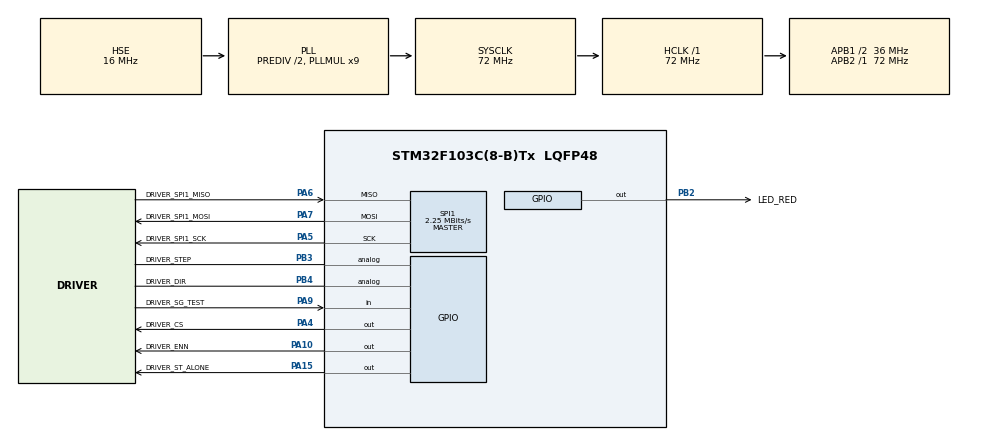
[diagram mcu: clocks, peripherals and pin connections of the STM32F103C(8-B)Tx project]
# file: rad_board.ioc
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Mcu.Family=STM32F1
Mcu.Name=STM32F103C(8-B)Tx
Mcu.Package=LQFP48
NVIC.PriorityGroup=NVIC_PRIORITYGROUP_4
PA10.GPIO_Label=DRIVER_ENN
PA10.Signal=GPIO_Output
PA13.GPIO_Label=J7_SWDIO
PA13.Mode=Serial_Wire
PA13.Signal=SYS_JTMS-SWDIO
PA14.GPIO_Label=J7_SWCLK
PA14.Mode=Serial_Wire
PA14.Signal=SYS_JTCK-SWCLK
PA15.GPIO_Label=DRIVER_ST_ALONE
PA15.Signal=GPIO_Output
PA4.GPIO_Label=DRIVER_CS
PA4.Signal=GPIO_Output
PA5.GPIO_Label=DRIVER_SPI1_SCK
PA5.Mode=Full_Duplex_Master
PA5.Signal=SPI1_SCK
PA6.GPIO_Label=DRIVER_SPI1_MISO
PA6.Mode=Full_Duplex_Master
PA6.Signal=SPI1_MISO
PA7.GPIO_Label=DRIVER_SPI1_MOSI
PA7.Mode=Full_Duplex_Master
PA7.Signal=SPI1_MOSI
PA9.GPIO_Label=DRIVER_SG_TEST
PA9.Signal=GPIO_Input
PB2.GPIO_Label=LED_RED
PB2.Signal=GPIO_Output
PB3.GPIO_Label=DRIVER_STEP
PB3.Signal=GPIO_Analog
PB4.GPIO_Label=DRIVER_DIR
PB4.Signal=GPIO_Analog
PD0-OSC_IN.Mode=HSE-External-Oscillator
PD0-OSC_IN.Signal=RCC_OSC_IN
PD1-OSC_OUT.Mode=HSE-External-Oscillator
PD1-OSC_OUT.Signal=RCC_OSC_OUT
ProjectManager.HeapSize=0x200
ProjectManager.StackSize=0x400
ProjectManager.TargetToolchain=STM32CubeIDE
RCC.AHBFreq_Value=72000000
RCC.APB1CLKDivider=RCC_HCLK_DIV2
RCC.APB1Freq_Value=36000000
RCC.APB1TimFreq_Value=72000000
RCC.APB2Freq_Value=72000000
RCC.APB2TimFreq_Value=72000000
RCC.HCLKFreq_Value=72000000
RCC.HSEDivPLL=RCC_HSE_PREDIV_DIV2
RCC.HSE_VALUE=16000000
RCC.PLLMUL=RCC_PLL_MUL9
RCC.PLLSourceVirtual=RCC_PLLSOURCE_HSE
RCC.SYSCLKFreq_VALUE=72000000
RCC.SYSCLKSource=RCC_SYSCLKSOURCE_PLLCLK
RCC.USBFreq_Value=72000000
SPI1.BaudRatePrescaler=SPI_BAUDRATEPRESCALER_32
SPI1.CalculateBaudRate=2.25 MBits/s
SPI1.Direction=SPI_DIRECTION_2LINES
SPI1.Mode=SPI_MODE_MASTER
SPI1.VirtualType=VM_MASTER
board=custom

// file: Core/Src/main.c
/* USER CODE BEGIN Header */
/**
 ******************************************************************************
 * @file           : main.c
 * @brief          : Main program body
 ******************************************************************************
 * @attention
 *
 * Copyright (c) 2024 STMicroelectronics.
 * All rights reserved.
 *
 * This software is licensed under terms that can be found in the LICENSE file
 * in the root directory of this software component.
 * If no LICENSE file comes with this software, it is provided AS-IS.
 *
 ******************************************************************************
 */
/* USER CODE END Header */
#include "main.h"

SPI_HandleTypeDef hspi1;

void SystemClock_Config(void);
static void MX_GPIO_Init(void);
static void MX_SPI1_Init(void);

int main(void)
{

    /* MCU Configuration--------------------------------------------------------*/

    /* Reset of all peripherals, Initializes the Flash interface and the Systick. */
    HAL_Init();

    /* Configure the system clock */
    SystemClock_Config();

    /* Initialize all configured peripherals */
    MX_GPIO_Init();
    MX_SPI1_Init();
    /* USER CODE BEGIN 2 */

    HAL_GPIO_WritePin(GPIOA, GPIO_PIN_10, GPIO_PIN_RESET); // Motor driver chip enable
    HAL_GPIO_WritePin(GPIOA, GPIO_PIN_15, GPIO_PIN_RESET); // disable stand alone mode
    HAL_GPIO_WritePin(GPIOA, GPIO_PIN_4, GPIO_PIN_SET); // CS

    int32_t SPImsg = 0;
    uint8_t SPImsg_bytes[3];

    //  uint32_t SPIread;
    uint8_t SPIread_bytes[3];

    HAL_StatusTypeDef spi_status;

    // Bits 19, 18, 17
    // 111 DRVCONF (0b111 << 17)
    // 110 SGCSCONF (0b110 << 17)
    // 101 SMARTEN (0b101 << 17)
    // 100 CHOPCONF (0b100 << 17)
    // 00X DRVCTRL (0b00 << 18)

    /* DRVCONF */
    SPImsg = 0;
    SPImsg |= (0b111 << 17); // DRVCONF
    SPImsg |= (0b0 << 16); // TST: test mode
    SPImsg |= (0b11110 << 11); // SLP: Slope control
    SPImsg |= (0b0 << 10); // DIS_S2G: Short to ground protection
    SPImsg |= (0b00 << 8); // TS2G: Short detection delay
    SPImsg |= (0b0 << 7); // SDOFF: step/dir interface
    SPImsg |= (0b0 << 6); // VSENSE: full-scale sense resistor voltage setting
    SPImsg |= (0b11 << 4); // RDSEL: read out select
    SPImsg |= (0b0 << 3); // OTSENS: overtemp shutdown setting
    SPImsg |= (0b1 << 2); // SHRTSENS: short to ground sensitivity
    SPImsg |= (0b1 << 1); // EN_PFD: passive fast delay setting
    SPImsg |= (0b1 << 0); // EN_S2VS: Short to VS protection

    SPImsg_bytes[2] = (uint8_t) (SPImsg & 0xFF);
    SPImsg_bytes[1] = (uint8_t) ((SPImsg & 0xFF00) >> 8);
    SPImsg_bytes[0] = (uint8_t) ((SPImsg & 0xFF0000) >> 16);

    HAL_GPIO_WritePin(GPIOA, GPIO_PIN_4, GPIO_PIN_RESET);
    spi_status = HAL_SPI_TransmitReceive(&hspi1, SPImsg_bytes, SPIread_bytes, 3,
            1000);
    HAL_GPIO_WritePin(GPIOA, GPIO_PIN_4, GPIO_PIN_SET);

    /* SGCSCONF */
    SPImsg = 0;
    SPImsg |= (0b110 << 17); // SGCSCONF
    SPImsg |= (0b0 << 16); // SFILT: stall guard filter
    SPImsg |= (0b0000010 << 8); // SGT: stall guard threshold
    SPImsg |= (17 << 0); // CS: current scale

    SPImsg_bytes[2] = (uint8_t) (SPImsg & 0xFF);
    SPImsg_bytes[1] = (uint8_t) ((SPImsg & 0xFF00) >> 8);
    SPImsg_bytes[0] = (uint8_t) ((SPImsg & 0xFF0000) >> 16);

    HAL_GPIO_WritePin(GPIOA, GPIO_PIN_4, GPIO_PIN_RESET);
    spi_status = HAL_SPI_TransmitReceive(&hspi1, SPImsg_bytes, SPIread_bytes, 3,
            1000);
    HAL_GPIO_WritePin(GPIOA, GPIO_PIN_4, GPIO_PIN_SET);

    /* SMARTEN */
    SPImsg = 0;
    SPImsg |= (0b101 << 17); // SMARTEN
    SPImsg |= (0b0 << 15); // SEIMIN: min cool step current
    SPImsg |= (0b00 << 13); // SEDN: current dec. speed
    SPImsg |= (0b0000 << 8); // SEMAX: upper cool step threshold offset
    SPImsg |= (0b00 << 5); // SEUP: current increment size
    SPImsg |= (0b0000 << 0); // SEMIN: cool step lower threshold

    SPImsg_bytes[2] = (uint8_t) (SPImsg & 0xFF);
    SPImsg_bytes[1] = (uint8_t) ((SPImsg & 0xFF00) >> 8);
    SPImsg_bytes[0] = (uint8_t) ((SPImsg & 0xFF0000) >> 16);

    HAL_GPIO_WritePin(GPIOA, GPIO_PIN_4, GPIO_PIN_RESET);
    spi_status = HAL_SPI_TransmitReceive(&hspi1, SPImsg_bytes, SPIread_bytes, 3,
            1000);
    HAL_GPIO_WritePin(GPIOA, GPIO_PIN_4, GPIO_PIN_SET);

    /* CHOPCONF */
    SPImsg = 0;
    SPImsg |= (0b100 << 17); // CHOPCONF
    SPImsg |= (0b10 << 15); // TBL: blanking time
    SPImsg |= (0b0 << 14); // CHM: chopper mode
    SPImsg |= (0b0 << 13); // RNDTF: Random TOFF time
    SPImsg |= (0b00 << 11); // HDEC: hysteresis decay or fast decay mode
    SPImsg |= (0b0100 << 7); // HEND: hysteresis end value
    SPImsg |= (0b110 << 4); // HSTRT: hysteresis start value
    SPImsg |= (0b0100 << 0); // TOFF: mosfet off time

    SPImsg_bytes[2] = (uint8_t) (SPImsg & 0xFF);
    SPImsg_bytes[1] = (uint8_t) ((SPImsg & 0xFF00) >> 8);
    SPImsg_bytes[0] = (uint8_t) ((SPImsg & 0xFF0000) >> 16);

    HAL_GPIO_WritePin(GPIOA, GPIO_PIN_4, GPIO_PIN_RESET);
    spi_status = HAL_SPI_TransmitReceive(&hspi1, SPImsg_bytes, SPIread_bytes, 3,
            1000);
    HAL_GPIO_WritePin(GPIOA, GPIO_PIN_4, GPIO_PIN_SET);

    /* DRVCTRL */
    SPImsg = 0;
    SPImsg |= (0b00 << 18); // DRVCTRL
    SPImsg |= (0b0 << 9); // INTPOL: step interpolation
    SPImsg |= (0b0 << 8); // DEDGE: Double edge step pulses
    SPImsg |= (0b0111 << 0); // MRES: Microsteps per fullstep

    SPImsg_bytes[2] = (uint8_t) (SPImsg & 0xFF);
    SPImsg_bytes[1] = (uint8_t) ((SPImsg & 0xFF00) >> 8);
    SPImsg_bytes[0] = (uint8_t) ((SPImsg & 0xFF0000) >> 16);

    HAL_GPIO_WritePin(GPIOA, GPIO_PIN_4, GPIO_PIN_RESET);
    spi_status = HAL_SPI_TransmitReceive(&hspi1, SPImsg_bytes, SPIread_bytes, 3,
            1000);
    HAL_GPIO_WritePin(GPIOA, GPIO_PIN_4, GPIO_PIN_SET);
    /* USER CODE END 2 */

    /* Infinite loop */
    /* USER CODE BEGIN WHILE */
    while (1)
    {
        // Use LED to signal state of ST_TST
        HAL_GPIO_WritePin(GPIOB, GPIO_PIN_2,
                HAL_GPIO_ReadPin(GPIOA, GPIO_PIN_9));
        /* USER CODE END WHILE */

    }
}

void SystemClock_Config(void)
{
    RCC_OscInitTypeDef RCC_OscInitStruct =
    { 0 };
    RCC_ClkInitTypeDef RCC_ClkInitStruct =
    { 0 };

    /** Initializes the RCC Oscillators according to the specified parameters
     * in the RCC_OscInitTypeDef structure.
     */
    RCC_OscInitStruct.OscillatorType = RCC_OSCILLATORTYPE_HSE;
    RCC_OscInitStruct.HSEState = RCC_HSE_ON;
    RCC_OscInitStruct.HSEPredivValue = RCC_HSE_PREDIV_DIV2;
    RCC_OscInitStruct.HSIState = RCC_HSI_ON;
    RCC_OscInitStruct.PLL.PLLState = RCC_PLL_ON;
    RCC_OscInitStruct.PLL.PLLSource = RCC_PLLSOURCE_HSE;
    RCC_OscInitStruct.PLL.PLLMUL = RCC_PLL_MUL9;
    if (HAL_RCC_OscConfig(&RCC_OscInitStruct) != HAL_OK)
    {
        Error_Handler();
    }

    /** Initializes the CPU, AHB and APB buses clocks
     */
    RCC_ClkInitStruct.ClockType = RCC_CLOCKTYPE_HCLK | RCC_CLOCKTYPE_SYSCLK
            | RCC_CLOCKTYPE_PCLK1 | RCC_CLOCKTYPE_PCLK2;
    RCC_ClkInitStruct.SYSCLKSource = RCC_SYSCLKSOURCE_PLLCLK;
    RCC_ClkInitStruct.AHBCLKDivider = RCC_SYSCLK_DIV1;
    RCC_ClkInitStruct.APB1CLKDivider = RCC_HCLK_DIV2;
    RCC_ClkInitStruct.APB2CLKDivider = RCC_HCLK_DIV1;

    if (HAL_RCC_ClockConfig(&RCC_ClkInitStruct, FLASH_LATENCY_2) != HAL_OK)
    {
        Error_Handler();
    }
}

static void MX_SPI1_Init(void)
{

    /* SPI1 parameter configuration*/
    hspi1.Instance = SPI1;
    hspi1.Init.Mode = SPI_MODE_MASTER;
    hspi1.Init.Direction = SPI_DIRECTION_2LINES;
    hspi1.Init.DataSize = SPI_DATASIZE_8BIT;
    hspi1.Init.CLKPolarity = SPI_POLARITY_LOW;
    hspi1.Init.CLKPhase = SPI_PHASE_1EDGE;
    hspi1.Init.NSS = SPI_NSS_SOFT;
    hspi1.Init.BaudRatePrescaler = SPI_BAUDRATEPRESCALER_32;
    hspi1.Init.FirstBit = SPI_FIRSTBIT_MSB;
    hspi1.Init.TIMode = SPI_TIMODE_DISABLE;
    hspi1.Init.CRCCalculation = SPI_CRCCALCULATION_DISABLE;
    hspi1.Init.CRCPolynomial = 10;
    if (HAL_SPI_Init(&hspi1) != HAL_OK)
    {
        Error_Handler();
    }

}

static void MX_GPIO_Init(void)
{
    GPIO_InitTypeDef GPIO_InitStruct =
    { 0 };

    /* GPIO Ports Clock Enable */
    __HAL_RCC_GPIOD_CLK_ENABLE();
    __HAL_RCC_GPIOA_CLK_ENABLE();
    __HAL_RCC_GPIOB_CLK_ENABLE();

    /*Configure GPIO pin Output Level */
    HAL_GPIO_WritePin(GPIOA,
            DRIVER_CS_Pin | DRIVER_ENN_Pin | DRIVER_ST_ALONE_Pin,
            GPIO_PIN_RESET);

    /*Configure GPIO pin Output Level */
    HAL_GPIO_WritePin(LED_RED_GPIO_Port, LED_RED_Pin, GPIO_PIN_RESET);

    /*Configure GPIO pins : DRIVER_CS_Pin DRIVER_ENN_Pin DRIVER_ST_ALONE_Pin */
    GPIO_InitStruct.Pin = DRIVER_CS_Pin | DRIVER_ENN_Pin | DRIVER_ST_ALONE_Pin;
    GPIO_InitStruct.Mode = GPIO_MODE_OUTPUT_PP;
    GPIO_InitStruct.Pull = GPIO_NOPULL;
    GPIO_InitStruct.Speed = GPIO_SPEED_FREQ_LOW;
    HAL_GPIO_Init(GPIOA, &GPIO_InitStruct);

    /*Configure GPIO pin : LED_RED_Pin */
    GPIO_InitStruct.Pin = LED_RED_Pin;
    GPIO_InitStruct.Mode = GPIO_MODE_OUTPUT_PP;
    GPIO_InitStruct.Pull = GPIO_NOPULL;
    GPIO_InitStruct.Speed = GPIO_SPEED_FREQ_LOW;
    HAL_GPIO_Init(LED_RED_GPIO_Port, &GPIO_InitStruct);

    /*Configure GPIO pin : DRIVER_SG_TEST_Pin */
    GPIO_InitStruct.Pin = DRIVER_SG_TEST_Pin;
    GPIO_InitStruct.Mode = GPIO_MODE_INPUT;
    GPIO_InitStruct.Pull = GPIO_NOPULL;
    HAL_GPIO_Init(DRIVER_SG_TEST_GPIO_Port, &GPIO_InitStruct);

    /*Configure GPIO pins : DRIVER_STEP_Pin DRIVER_DIR_Pin */
    GPIO_InitStruct.Pin = DRIVER_STEP_Pin | DRIVER_DIR_Pin;
    GPIO_InitStruct.Mode = GPIO_MODE_ANALOG;
    HAL_GPIO_Init(GPIOB, &GPIO_InitStruct);

}

void Error_Handler(void)
{
    __disable_irq();
    while (1)
    {
    }
}
